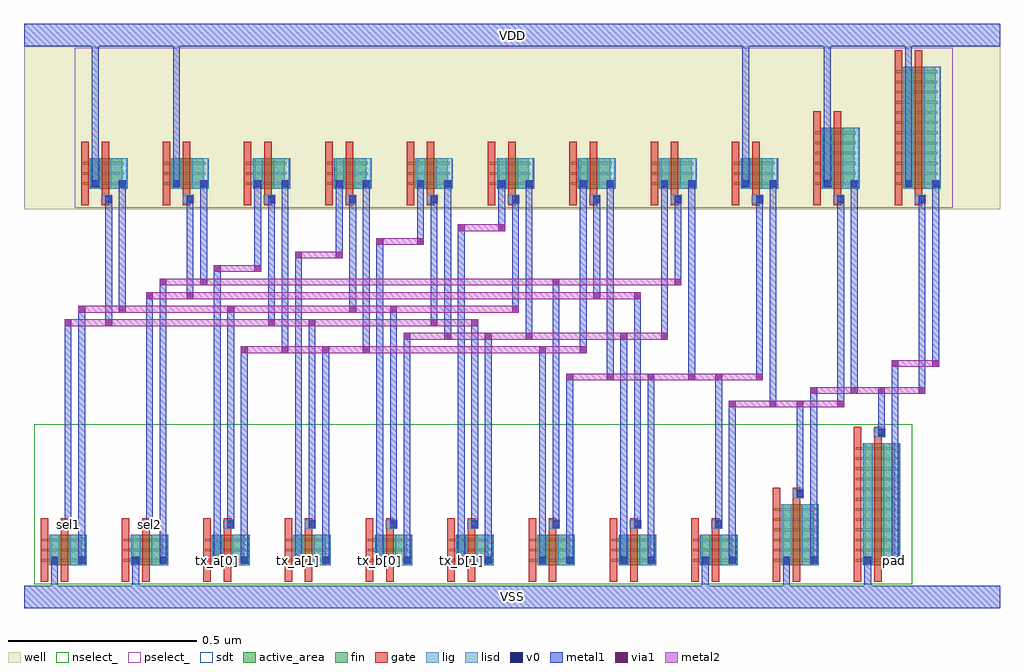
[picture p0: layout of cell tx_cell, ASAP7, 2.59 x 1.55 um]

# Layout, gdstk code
import gdstk
lib = gdstk.Library(unit=1e-6, precision=2.5e-10)
def R(c, l, rs):  # rectangles x0, y0, x1, y1
    for r in rs: c.add(gdstk.rectangle(r[:2], r[2:], *l))
def A(c, l, x, y, w, h, nx, ny, dx, dy):  # array of equal rectangles
    R(c, l, [(x+i*dx, y+j*dy, x+i*dx+w, y+j*dy+h) for i in range(nx) for j in range(ny)])
well = (1, 0)
fin = (2, 0)
gate = (7, 0)
active_area = (11, 0)
nselect_ = (12, 0)
pselect_ = (13, 0)
lig = (16, 0)
lisd = (17, 0)
v0 = (18, 0)
metal1 = (19, 0)
metal2 = (20, 0)
via1 = (21, 0)
sdt = (88, 0)

tx_cell = lib.new_cell('tx_cell')
R(tx_cell, well, [(0,1.06,2.592,1.492)])
A(tx_cell, fin, 0.049, 0.124, 0.108, 0.007, 11, 3, 0.216, 0.027)
A(tx_cell, fin, 1.993, 0.205, 0.108, 0.007, 1, 3, 0, 0.027)
A(tx_cell, fin, 2.209, 0.205, 0.108, 0.007, 1, 9, 0, 0.027)
A(tx_cell, fin, 0.157, 1.124, 0.108, 0.007, 11, 3, 0.216, 0.027)
A(tx_cell, fin, 2.101, 1.205, 0.108, 0.007, 1, 3, 0, 0.027)
A(tx_cell, fin, 2.317, 1.205, 0.108, 0.007, 1, 9, 0, 0.027)
R(tx_cell, gate, [(0.044,0.07,0.064,0.239), (0.098,0.07,0.118,0.239), (0.26,0.07,0.28,0.239), (0.314,0.07,0.334,0.239), (0.476,0.07,0.496,0.239), (0.53,0.07,0.55,0.239), (0.692,0.07,0.712,0.239), (0.746,0.07,0.766,0.239), (0.908,0.07,0.928,0.239), (0.962,0.07,0.982,0.239), (1.124,0.07,1.144,0.239), (1.178,0.07,1.198,0.239), (1.34,0.07,1.36,0.239), (1.394,0.07,1.414,0.239), (1.556,0.07,1.576,0.239), (1.61,0.07,1.63,0.239), (1.772,0.07,1.792,0.239), (1.826,0.07,1.846,0.239), (1.988,0.07,2.008,0.32), (2.042,0.07,2.062,0.32), (2.204,0.07,2.224,0.482), (2.258,0.07,2.278,0.482), (0.152,1.07,0.172,1.239), (0.206,1.07,0.226,1.239), (0.368,1.07,0.388,1.239), (0.422,1.07,0.442,1.239), (0.584,1.07,0.604,1.239), (0.638,1.07,0.658,1.239), (0.8,1.07,0.82,1.239), (0.854,1.07,0.874,1.239), (1.016,1.07,1.036,1.239), (1.07,1.07,1.09,1.239), (1.232,1.07,1.252,1.239), (1.286,1.07,1.306,1.239), (1.448,1.07,1.468,1.239), (1.502,1.07,1.522,1.239), (1.664,1.07,1.684,1.239), (1.718,1.07,1.738,1.239), (1.88,1.07,1.9,1.239), (1.934,1.07,1.954,1.239), (2.096,1.07,2.116,1.32), (2.15,1.07,2.17,1.32), (2.312,1.07,2.332,1.482), (2.366,1.07,2.386,1.482)])
A(tx_cell, active_area, 0.073, 0.114, 0.08, 0.081, 9, 1, 0.216, 0)
A(tx_cell, active_area, 0.181, 1.114, 0.08, 0.081, 9, 1, 0.216, 0)
R(tx_cell, active_area, [(2.017,0.114,2.097,0.276), (2.233,0.114,2.313,0.438), (2.125,1.114,2.205,1.276), (2.341,1.114,2.421,1.438)])
R(tx_cell, nselect_, [(0.027,0.063,2.359,0.489)])
R(tx_cell, pselect_, [(0.135,1.063,2.467,1.489)])
A(tx_cell, lig, 0.097, 0.211, 0.03, 0.024, 9, 1, 0.216, 0)
A(tx_cell, lig, 0.205, 1.074, 0.03, 0.024, 11, 1, 0.216, 0)
R(tx_cell, lig, [(2.041,0.292,2.071,0.316), (2.257,0.454,2.287,0.478)])
A(tx_cell, lisd, 0.067, 0.114, 0.027, 0.081, 9, 1, 0.216, 0)
A(tx_cell, lisd, 0.122, 0.114, 0.045, 0.081, 9, 1, 0.216, 0)
A(tx_cell, lisd, 0.175, 1.114, 0.027, 0.081, 9, 1, 0.216, 0)
A(tx_cell, lisd, 0.23, 1.114, 0.045, 0.081, 9, 1, 0.216, 0)
R(tx_cell, lisd, [(2.011,0.114,2.038,0.276), (2.066,0.114,2.111,0.276), (2.227,0.114,2.254,0.438), (2.282,0.114,2.327,0.438), (2.119,1.114,2.146,1.276), (2.174,1.114,2.219,1.276), (2.335,1.114,2.362,1.438), (2.39,1.114,2.435,1.438)])
A(tx_cell, v0, 0.108, 0.214, 0.018, 0.018, 9, 1, 0.216, 0)
A(tx_cell, v0, 0.216, 1.077, 0.018, 0.018, 11, 1, 0.216, 0)
R(tx_cell, v0, [(0.072,0.118,0.09,0.136), (0.144,0.118,0.162,0.136), (0.288,0.118,0.306,0.136), (0.36,0.118,0.378,0.136), (0.504,0.118,0.522,0.136), (0.576,0.118,0.594,0.136), (0.72,0.118,0.738,0.136), (0.792,0.118,0.81,0.136), (0.936,0.118,0.954,0.136), (1.008,0.118,1.026,0.136), (1.152,0.118,1.17,0.136), (1.224,0.118,1.242,0.136), (1.368,0.118,1.386,0.136), (1.44,0.118,1.458,0.136), (1.584,0.118,1.602,0.136), (1.656,0.118,1.674,0.136), (1.8,0.118,1.818,0.136), (1.872,0.118,1.89,0.136), (2.016,0.118,2.034,0.136), (2.088,0.118,2.106,0.136), (2.232,0.118,2.25,0.136), (2.304,0.118,2.322,0.136), (2.052,0.295,2.07,0.313), (2.268,0.457,2.286,0.475), (0.18,1.118,0.198,1.136), (0.252,1.118,0.27,1.136), (0.396,1.118,0.414,1.136), (0.468,1.118,0.486,1.136), (0.612,1.118,0.63,1.136), (0.684,1.118,0.702,1.136), (0.828,1.118,0.846,1.136), (0.9,1.118,0.918,1.136), (1.044,1.118,1.062,1.136), (1.116,1.118,1.134,1.136), (1.26,1.118,1.278,1.136), (1.332,1.118,1.35,1.136), (1.476,1.118,1.494,1.136), (1.548,1.118,1.566,1.136), (1.692,1.118,1.71,1.136), (1.764,1.118,1.782,1.136), (1.908,1.118,1.926,1.136), (1.98,1.118,1.998,1.136), (2.124,1.118,2.142,1.136), (2.196,1.118,2.214,1.136), (2.34,1.118,2.358,1.136), (2.412,1.118,2.43,1.136)])
A(tx_cell, metal1, 1.8, 0.021, 0.018, 0.115, 3, 1, 0.216, 0)
A(tx_cell, metal1, 0.216, 0.749, 0.018, 0.346, 3, 1, 0.432, 0)
A(tx_cell, metal1, 1.908, 1.118, 0.018, 0.413, 3, 1, 0.216, 0)
R(tx_cell, metal1, [(0,0,2.592,0.06), (0.072,0.021,0.09,0.136), (0.288,0.021,0.306,0.136), (0.144,0.118,0.162,0.803), (0.36,0.118,0.378,0.875), (0.504,0.118,0.522,0.911), (0.576,0.118,0.594,0.695), (0.72,0.118,0.738,0.947), (0.792,0.118,0.81,0.695), (0.936,0.118,0.954,0.983), (1.008,0.118,1.026,0.731), (1.152,0.118,1.17,1.019), (1.224,0.118,1.242,0.731), (1.368,0.118,1.386,0.695), (1.44,0.118,1.458,0.623), (1.584,0.118,1.602,0.731), (1.656,0.118,1.674,0.623), (1.872,0.118,1.89,0.551), (2.088,0.118,2.106,0.587), (2.304,0.118,2.322,0.659), (0.108,0.214,0.126,0.767), (0.324,0.214,0.342,0.839), (0.54,0.214,0.558,0.803), (0.756,0.214,0.774,0.767), (0.972,0.214,0.99,0.803), (1.188,0.214,1.206,0.767), (1.404,0.214,1.422,0.875), (1.62,0.214,1.638,0.839), (1.836,0.214,1.854,0.623), (2.052,0.295,2.07,0.551), (2.268,0.457,2.286,0.587), (1.98,0.533,1.998,1.136), (2.16,0.533,2.178,1.095), (2.196,0.569,2.214,1.136), (2.376,0.569,2.394,1.095), (1.548,0.605,1.566,1.136), (1.764,0.605,1.782,1.136), (1.944,0.605,1.962,1.095), (2.412,0.641,2.43,1.136), (0.684,0.677,0.702,1.136), (0.9,0.677,0.918,1.136), (1.476,0.677,1.494,1.136), (1.116,0.713,1.134,1.136), (1.332,0.713,1.35,1.136), (1.692,0.713,1.71,1.136), (0.252,0.785,0.27,1.136), (0.864,0.785,0.882,1.095), (1.296,0.785,1.314,1.095), (0.432,0.821,0.45,1.095), (1.512,0.821,1.53,1.095), (0.468,0.857,0.486,1.136), (1.728,0.857,1.746,1.095), (0.612,0.893,0.63,1.136), (0.828,0.929,0.846,1.136), (1.044,0.965,1.062,1.136), (1.26,1.001,1.278,1.136), (0.18,1.118,0.198,1.531), (0.396,1.118,0.414,1.531), (0,1.492,2.592,1.552)])
R(tx_cell, metal2, [(1.872,0.533,2.178,0.551), (2.088,0.569,2.394,0.587), (1.44,0.605,1.962,0.623), (2.304,0.641,2.43,0.659), (0.576,0.677,1.494,0.695), (1.008,0.713,1.71,0.731), (0.108,0.749,1.206,0.767), (0.144,0.785,1.314,0.803), (0.324,0.821,1.638,0.839), (0.36,0.857,1.746,0.875), (0.504,0.893,0.63,0.911), (0.72,0.929,0.846,0.947), (0.936,0.965,1.062,0.983), (1.152,1.001,1.278,1.019)])
A(tx_cell, via1, 1.44, 0.605, 0.018, 0.018, 4, 1, 0.108, 0)
A(tx_cell, via1, 0.576, 0.677, 0.018, 0.018, 4, 1, 0.108, 0)
A(tx_cell, via1, 1.008, 0.713, 0.018, 0.018, 4, 1, 0.108, 0)
R(tx_cell, via1, [(1.872,0.533,1.89,0.551), (1.98,0.533,1.998,0.551), (2.052,0.533,2.07,0.551), (2.16,0.533,2.178,0.551), (2.088,0.569,2.106,0.587), (2.196,0.569,2.214,0.587), (2.268,0.569,2.286,0.587), (2.376,0.569,2.394,0.587), (1.836,0.605,1.854,0.623), (1.944,0.605,1.962,0.623), (2.304,0.641,2.322,0.659), (2.412,0.641,2.43,0.659), (1.368,0.677,1.386,0.695), (1.476,0.677,1.494,0.695), (1.584,0.713,1.602,0.731), (1.692,0.713,1.71,0.731), (0.108,0.749,0.126,0.767), (0.216,0.749,0.234,0.767), (0.648,0.749,0.666,0.767), (0.756,0.749,0.774,0.767), (1.08,0.749,1.098,0.767), (1.188,0.749,1.206,0.767), (0.144,0.785,0.162,0.803), (0.252,0.785,0.27,0.803), (0.54,0.785,0.558,0.803), (0.864,0.785,0.882,0.803), (0.972,0.785,0.99,0.803), (1.296,0.785,1.314,0.803), (0.324,0.821,0.342,0.839), (0.432,0.821,0.45,0.839), (1.512,0.821,1.53,0.839), (1.62,0.821,1.638,0.839), (0.36,0.857,0.378,0.875), (0.468,0.857,0.486,0.875), (1.404,0.857,1.422,0.875), (1.728,0.857,1.746,0.875), (0.504,0.893,0.522,0.911), (0.612,0.893,0.63,0.911), (0.72,0.929,0.738,0.947), (0.828,0.929,0.846,0.947), (0.936,0.965,0.954,0.983), (1.044,0.965,1.062,0.983), (1.152,1.001,1.17,1.019), (1.26,1.001,1.278,1.019)])
A(tx_cell, sdt, 0.069, 0.114, 0.024, 0.081, 9, 1, 0.216, 0)
A(tx_cell, sdt, 0.123, 0.114, 0.042, 0.081, 9, 1, 0.216, 0)
A(tx_cell, sdt, 0.177, 1.114, 0.024, 0.081, 9, 1, 0.216, 0)
A(tx_cell, sdt, 0.231, 1.114, 0.042, 0.081, 9, 1, 0.216, 0)
R(tx_cell, sdt, [(2.013,0.114,2.037,0.276), (2.067,0.114,2.109,0.276), (2.229,0.114,2.253,0.438), (2.283,0.114,2.325,0.438), (2.121,1.114,2.145,1.276), (2.175,1.114,2.217,1.276), (2.337,1.114,2.361,1.438), (2.391,1.114,2.433,1.438)])
tx_cell.add(gdstk.Label('VSS', (1.296,0.03), layer=19, texttype=251))
tx_cell.add(gdstk.Label('VDD', (1.296,1.522), layer=19, texttype=251))
tx_cell.add(gdstk.Label('sel1', (0.117,0.223), layer=19, texttype=251))
tx_cell.add(gdstk.Label('sel2', (0.333,0.223), layer=19, texttype=251))
tx_cell.add(gdstk.Label('tx_a[0]', (0.513,0.127), layer=19, texttype=251))
tx_cell.add(gdstk.Label('tx_a[1]', (0.729,0.127), layer=19, texttype=251))
tx_cell.add(gdstk.Label('tx_b[0]', (0.945,0.127), layer=19, texttype=251))
tx_cell.add(gdstk.Label('tx_b[1]', (1.161,0.127), layer=19, texttype=251))
tx_cell.add(gdstk.Label('pad', (2.313,0.127), layer=19, texttype=251))

lib.write_gds('tx_cell.gds')
